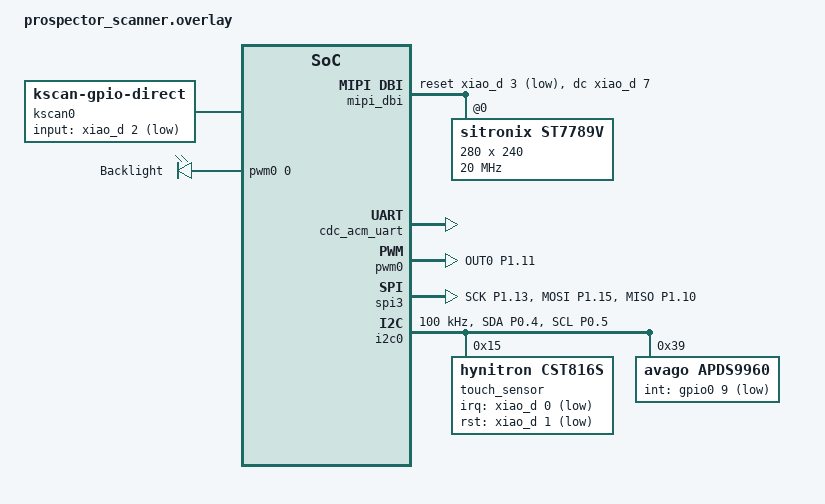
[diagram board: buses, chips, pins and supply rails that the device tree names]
/*
 * Display Test - ST7789V + Touch (CST816S)
 * Pin mapping from Prospector Scanner
 */

#include <dt-bindings/zmk/matrix_transform.h>

/ {
    chosen {
        zmk,kscan = &kscan0;
        zmk,display = &st7789v;
        zephyr,display = &st7789v;
        zephyr,console = &cdc_acm_uart;
    };

    /* Dummy kscan - moved to D2 to free D0 for touch IRQ */
    kscan0: kscan {
        compatible = "zmk,kscan-gpio-direct";
        wakeup-source;
        input-gpios = <&xiao_d 2 (GPIO_ACTIVE_LOW | GPIO_PULL_UP)>;
    };

    /* PWM backlight control for brightness adjustment - Pin 6 = P1.11 */
    /* PWM period: 1000us = 1kHz for flicker-free operation */
    pwmleds {
        compatible = "pwm-leds";
        backlight: backlight {
            pwms = <&pwm0 0 PWM_USEC(1000) PWM_POLARITY_NORMAL>;
            label = "Backlight";
        };
    };

    /* Alias for backlight */
    aliases {
        led0 = &backlight;
    };
};

/* USB CDC ACM for logging */
&zephyr_udc0 {
    cdc_acm_uart: cdc_acm_uart {
        compatible = "zephyr,cdc-acm-uart";
    };
};

/* Disable default SPI2 */
&spi2 {
    status = "disabled";
};

/* PWM pinctrl for backlight on P1.11 */
&pinctrl {
    pwm0_default: pwm0_default {
        group1 {
            psels = <NRF_PSEL(PWM_OUT0, 1, 11)>;  /* P1.11 = Pin 6 = Backlight */
        };
    };

    pwm0_sleep: pwm0_sleep {
        group1 {
            psels = <NRF_PSEL(PWM_OUT0, 1, 11)>;
            low-power-enable;
        };
    };
};

/* Enable PWM0 for backlight */
&pwm0 {
    status = "okay";
    pinctrl-0 = <&pwm0_default>;
    pinctrl-1 = <&pwm0_sleep>;
    pinctrl-names = "default", "sleep";
};

/* Custom pinctrl for SPI3 */
&pinctrl {
    spi3_default: spi3_default {
        group1 {
            psels = <NRF_PSEL(SPIM_SCK, 1, 13)>,
                <NRF_PSEL(SPIM_MOSI, 1, 15)>,
                <NRF_PSEL(SPIM_MISO, 1, 10)>;
        };
    };

    spi3_sleep: spi3_sleep {
        group1 {
            psels = <NRF_PSEL(SPIM_SCK, 1, 13)>,
                <NRF_PSEL(SPIM_MOSI, 1, 15)>,
                <NRF_PSEL(SPIM_MISO, 1, 10)>;
            low-power-enable;
        };
    };
};

/* SPI3 for display */
&spi3 {
    status = "okay";
    pinctrl-0 = <&spi3_default>;
    pinctrl-1 = <&spi3_sleep>;
    pinctrl-names = "default", "sleep";
    cs-gpios = <&xiao_d 9 GPIO_ACTIVE_LOW>;
};

/* MIPI DBI wrapper for ST7789V */
/ {
    mipi_dbi {
        compatible = "zephyr,mipi-dbi-spi";
        spi-dev = <&spi3>;
        dc-gpios = <&xiao_d 7 GPIO_ACTIVE_HIGH>;
        reset-gpios = <&xiao_d 3 GPIO_ACTIVE_LOW>;
        write-only;
        #address-cells = <1>;
        #size-cells = <0>;

        st7789v: st7789v@0 {
            compatible = "sitronix,st7789v";
            reg = <0>;
            mipi-max-frequency = <20000000>;
            mipi-mode = "MIPI_DBI_MODE_SPI_4WIRE";
            width = <280>;
            height = <240>;
            x-offset = <20>;
            y-offset = <0>;
            /* Zephyr 4.1: inversion is ON by default, use inversion-off to disable */
            vcom = <0x19>;
            gctrl = <0x35>;
            vrhs = <0x12>;
            vdvs = <0x20>;
            mdac = <0x60>;  /* 90 degree rotation */
            gamma = <0x01>;
            colmod = <0x05>;
            lcm = <0x2c>;
            porch-param = [0c 0c 00 33 33];
            cmd2en-param = [5a 69 02 01];
            pwctrl1-param = [a4 a1];
            pvgam-param = [D0 04 0D 11 13 2B 3F 54 4C 18 0D 0B 1F 23];
            nvgam-param = [D0 04 0C 11 13 2C 3F 44 51 2F 1F 1F 20 23];
            ram-param = [00 F0];
            rgb-param = [CD 08 14];
        };
    };
};

/* ========== I2C Bus (Step 5a) ========== */

/* I2C0 pinctrl for touch sensor and light sensor */
&pinctrl {
    i2c0_default: i2c0_default {
        group1 {
            psels = <NRF_PSEL(TWIM_SDA, 0, 4)>,  /* D4 = P0.04 = SDA */
                    <NRF_PSEL(TWIM_SCL, 0, 5)>;  /* D5 = P0.05 = SCL */
        };
    };

    i2c0_sleep: i2c0_sleep {
        group1 {
            psels = <NRF_PSEL(TWIM_SDA, 0, 4)>,
                    <NRF_PSEL(TWIM_SCL, 0, 5)>;
            low-power-enable;
        };
    };
};

&i2c0 {
    status = "okay";
    compatible = "nordic,nrf-twim";
    pinctrl-0 = <&i2c0_default>;
    pinctrl-1 = <&i2c0_sleep>;
    pinctrl-names = "default", "sleep";
    clock-frequency = <100000>;  /* Standard mode 100kHz */

    /* CST816S Touch Controller (Step 5b - enabled when CONFIG_INPUT_CST816S=y) */
    touch_sensor: cst816s@15 {
        compatible = "hynitron,cst816s";
        reg = <0x15>;
        status = "okay";

        /* Touch panel control pins */
        /* TP_IRQ → D0 = P0.02 (interrupt pin) */
        /* TP_RST → D1 = P0.28 (reset pin) */
        irq-gpios = <&xiao_d 0 (GPIO_ACTIVE_LOW | GPIO_PULL_UP)>;
        rst-gpios = <&xiao_d 1 GPIO_ACTIVE_LOW>;
    };

    /* APDS9960 Light/Gesture Sensor (Step 5c - for auto-brightness) */
    /* NOTE: INT not physically connected, using unused internal GPIO P0.09 */
    /* P0.09 is NFC1 pin, not exposed on XIAO but available as GPIO */
    apds9960: apds9960@39 {
        compatible = "avago,apds9960";
        reg = <0x39>;
        status = "okay";
        int-gpios = <&gpio0 9 (GPIO_ACTIVE_LOW | GPIO_PULL_UP)>;
    };
};
